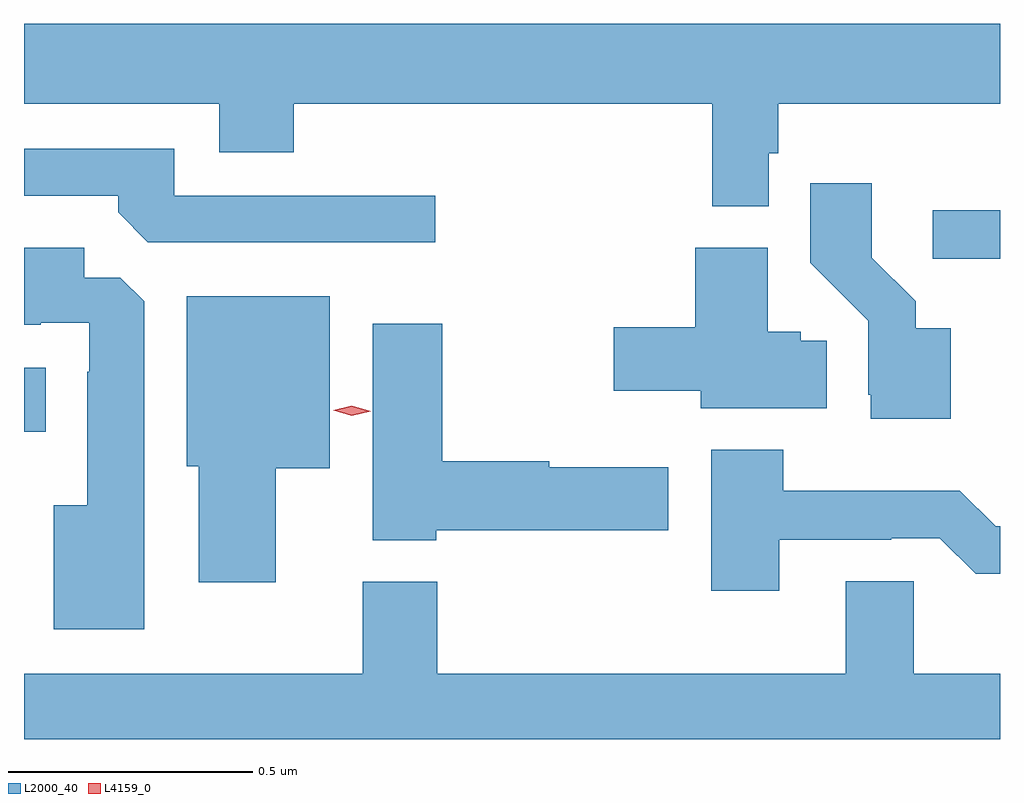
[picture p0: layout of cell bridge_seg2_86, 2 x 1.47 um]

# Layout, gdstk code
import gdstk
lib = gdstk.Library(unit=1e-6, precision=1e-09)
def R(c, l, rs):  # rectangles x0, y0, x1, y1
    for r in rs: c.add(gdstk.rectangle(r[:2], r[2:], *l))
def P(c, l, *ps):  # polygons
    for p in ps: c.add(gdstk.Polygon(p, *l))
L2000_40 = (2000, 40)
L4159_0 = (4159, 0)

bridge_seg2_86 = lib.new_cell('bridge_seg2_86')
R(bridge_seg2_86, L2000_40, [(328.027,616.328,328.072,616.459), (329.889,616.683,330.027,616.782)])
P(bridge_seg2_86, L2000_40, [(329.553,616.899),(329.573,616.899),(329.573,617),(330.027,617),(330.027,617.164),(328.027,617.164),(328.027,617),(328.427,617),(328.427,616.901),(328.58,616.901),(328.58,617),(329.437,617),(329.437,616.79),(329.553,616.79)],
  [(328.87,616.812),(328.335,616.812),(328.335,616.908),(328.027,616.908),(328.027,616.812),(328.22,616.812),(328.22,616.778),(328.281,616.716),(328.87,616.716)],
  [(329.926,616.54),(329.854,616.54),(329.854,616.595),(329.764,616.685),(329.764,616.837),(329.638,616.837),(329.638,616.674),(329.757,616.555),(329.757,616.404),(329.762,616.404),(329.762,616.355),(329.926,616.355)],
  [(328.273,616.595),(328.224,616.644),(328.15,616.644),(328.15,616.705),(328.027,616.705),(328.027,616.547),(328.061,616.547),(328.061,616.551),(328.161,616.551),(328.161,616.451),(328.157,616.451),(328.157,616.177),(328.088,616.177),(328.088,615.923),(328.273,615.923)],
  [(329.672,616.514),(329.619,616.514),(329.619,616.533),(329.551,616.533),(329.551,616.705),(329.402,616.705),(329.402,616.542),(329.235,616.542),(329.235,616.412),(329.414,616.412),(329.414,616.376),(329.672,616.376)],
  [(328.543,616.253),(328.654,616.253),(328.654,616.606),(328.361,616.606),(328.361,616.257),(328.385,616.257),(328.385,616.02),(328.543,616.02)],
  [(328.872,616.126),(329.347,616.126),(329.347,616.255),(329.103,616.255),(329.103,616.268),(328.884,616.268),(328.884,616.549),(328.742,616.549),(328.742,616.106),(328.872,616.106)],
  [(329.575,616.107),(329.804,616.107),(329.804,616.11),(329.904,616.11),(329.977,616.037),(330.027,616.037),(330.027,616.134),(330.018,616.134),(329.945,616.207),(329.583,616.207),(329.583,616.291),(329.435,616.291),(329.435,616.002),(329.575,616.002)],
  [(328.721,616.021),(328.721,615.832),(328.027,615.832),(328.027,615.698),(330.027,615.698),(330.027,615.832),(329.85,615.832),(329.85,616.022),(329.711,616.022),(329.711,615.832),(328.874,615.832),(328.874,616.021)])
P(bridge_seg2_86, L4159_0, [(328.699,616.361),(328.661,616.372),(328.66,616.372),(328.661,616.372),(328.699,616.381),(328.738,616.37),(328.738,616.37),(328.738,616.37)])

lib.write_gds('bridge_seg2_86.gds')
